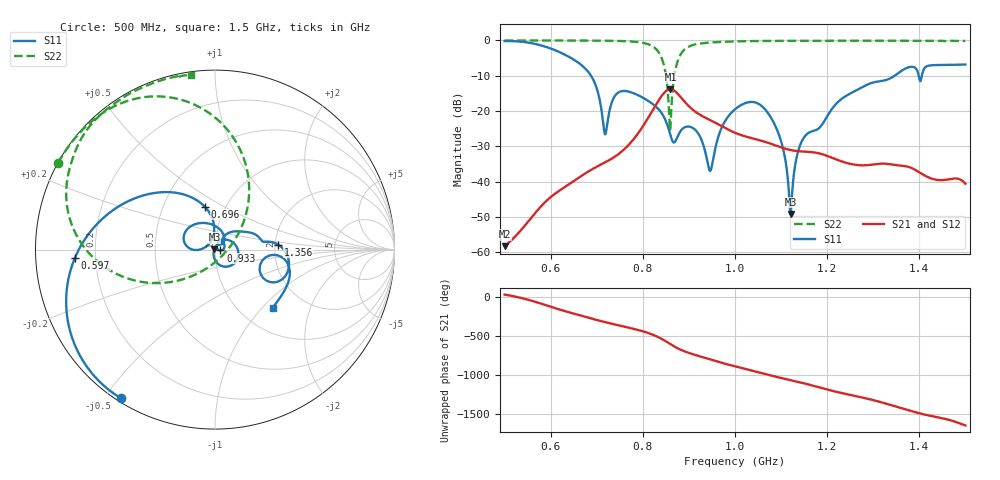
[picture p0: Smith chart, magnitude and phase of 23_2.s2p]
! TOUCHSTONE file generated by CST MICROWAVE STUDIO
! Date and time: Wed Oct 28 19:37:46 2020
! Project name: Scenario_1_Circular_Tissue_out_of_Line_v2.cst
! Parameters = {dy1=34.6; L_HA=400; MT=2.54; Rad_Dielectric=30; Rad_Lower=7.3; Rad_Upper=30; a_HA=580; a_WG=246; b_HA=500; b_WG=121; c_HA=0; c_WG=187; d_feed=85; dx1=346; h_feed=15; h_lower=18; h_upper=40}
! Header version: 2018
! Port assignment regex: !\s*Touchstone port\s*([0-9]+)\s*=\s*(CST MWS port|CST DS port)\s*([0-9]+|Zmin|Zmax)\s*\(\"(.*)\"\)(\s*mode\s*([0-9]+))?.*
! Touchstone port assignment:
! Touchstone port 1 = CST MWS port 1 ("")
! Touchstone port 2 = CST MWS port 2 ("")
# GHz S DB R 50
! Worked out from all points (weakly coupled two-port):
!   1003 points, 500 MHz to 1.5 GHz, reference 50 ohm
!   highest |S21| = -13.79 dB at 860 MHz (marker M1); lowest = -58.2 dB at 500 MHz (marker M2)
!   lowest |S11| = -49.1 dB at 1.121 GHz (marker M3), VSWR 1.01, Z = 49.7 + j0.206 ohm
!   |S11| at or under -10 dB: 687.6 MHz to 1.346 GHz (658.6 MHz wide, 64.8 % of centre); 1.398762 GHz to 1.405437 GHz (6.675 MHz wide, 0.476 % of centre)
!   |S22| runs from -25.5 to 0.0 dB; largest |S21 - S12| = 2.1e-05
!   S11 on the Smith chart (normalised r, x): 500 MHz: 0.01, -0.55; 597 MHz: 0.12, -0.03; 696 MHz: 0.80, +0.41; 933 MHz: 1.06, -0.01; 1.356 GHz: 2.07, +0.13; 1.5 GHz: 1.40, -1.15
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0.5  -0.18 -122.3  -58.21 32.9  -58.21 32.9  -0.01 151.1
0.597  -2.15 -176.7  -44.66 -117.8  -44.66 -117.8  -0.02 144.3
0.667  -7.00 134.5  -38.30 121.1  -38.30 121.1  -0.04 138.4
0.696  -12.15 103.5  -36.02 73.7  -36.02 73.7  -0.06 135.3
0.718  -26.58 134.9  -34.52 39.9  -34.52 39.9  -0.09 132.6
0.751  -14.47 157.2  -31.76 -5.9  -31.76 -5.9  -0.17 127.3
0.834  -19.46 68.7  -17.01 -153.9  -17.01 -153.9  -3.28 85.4
0.86  -26.87 41.0  -13.79 117.8  -13.79 117.8  -24.44 -76.1
0.881  -25.81 65.6  -15.87 49.2  -15.87 49.2  -4.19 -170.6
0.909  -24.82 22.0  -19.68 -11.8  -19.68 -11.8  -1.28 163.1
0.933  -30.33 -9.4  -21.68 -54.2  -21.68 -54.2  -0.75 153.1
0.947  -36.80 34.9  -22.58 -78.8  -22.58 -78.8  -0.60 149.4
0.97  -25.02 59.3  -24.14 -118.5  -24.14 -118.5  -0.43 144.9
1  -19.49 23.3  -26.12 -165.4  -26.12 -165.4  -0.28 140.4
1.076  -21.41 -75.9  -29.15 80.2  -29.15 80.2  -0.14 131.9
1.103  -29.93 -104.2  -30.39 40.9  -30.39 40.9  -0.12 129.4
1.121  -49.09 143.9  -31.02 16.5  -31.02 16.5  -0.11 127.9
1.139  -30.51 58.4  -31.36 -8.0  -31.36 -8.0  -0.11 126.4
1.167  -25.73 39.7  -31.62 -49.7  -31.62 -49.7  -0.10 124.2
1.334  -10.90 8.7  -34.98 66.1  -34.98 66.1  -0.09 111.5
1.356  -9.08 4.6  -35.37 29.8  -35.37 29.8  -0.09 109.8
1.5  -6.81 -45.3  -40.54 157.7  -40.54 157.7  -0.15 97.9
